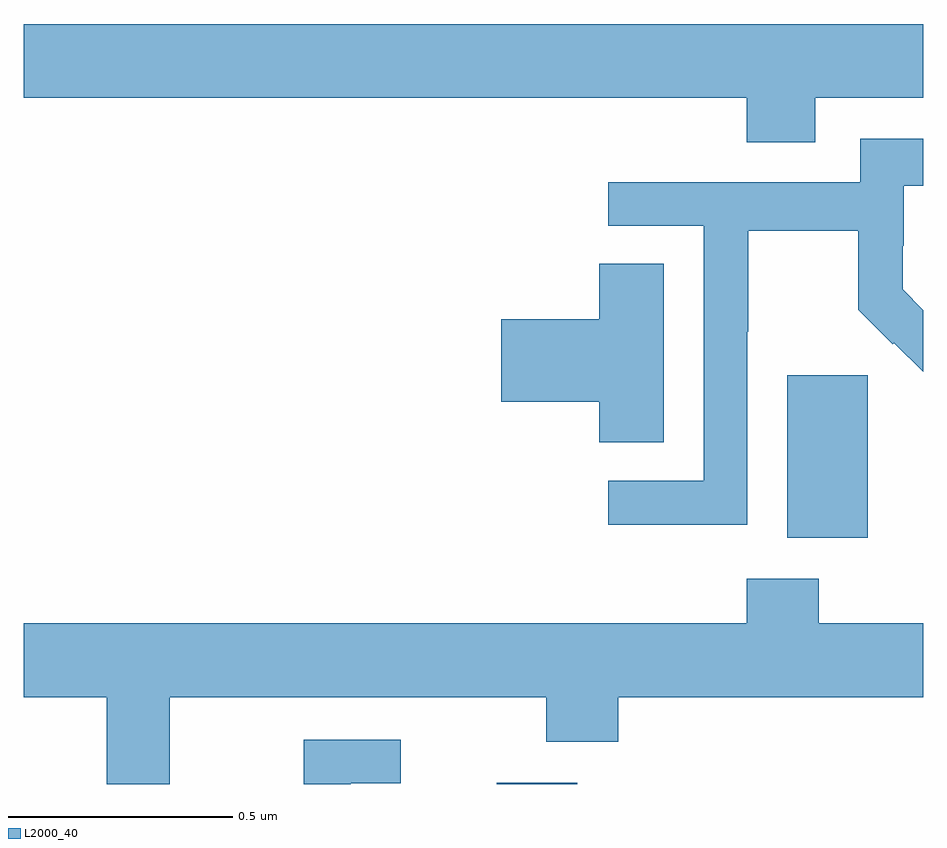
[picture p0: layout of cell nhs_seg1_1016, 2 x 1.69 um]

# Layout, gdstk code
import gdstk
lib = gdstk.Library(unit=1e-6, precision=1e-09)
def R(c, l, rs):  # rectangles x0, y0, x1, y1
    for r in rs: c.add(gdstk.rectangle(r[:2], r[2:], *l))
def P(c, l, *ps):  # polygons
    for p in ps: c.add(gdstk.Polygon(p, *l))
L2000_40 = (2000, 40)

nhs_seg1_1016 = lib.new_cell('nhs_seg1_1016')
R(nhs_seg1_1016, L2000_40, [(124.052,558.199,124.231,558.202), (124.697,558.746,124.876,559.107)])
P(nhs_seg1_1016, L2000_40, [(124.759,559.724),(125,559.724),(125,559.888),(123,559.888),(123,559.724),(124.607,559.724),(124.607,559.625),(124.759,559.625)],
  [(124.608,559.204),(124.611,559.204),(124.611,559.428),(124.855,559.428),(124.855,559.253),(124.932,559.176),(124.935,559.179),(125,559.115),(125,559.252),(124.954,559.298),(124.954,559.395),(124.956,559.395),(124.956,559.529),(125,559.529),(125,559.633),(124.86,559.633),(124.86,559.536),(124.299,559.536),(124.299,559.44),(124.512,559.44),(124.512,558.873),(124.299,558.873),(124.299,558.775),(124.608,558.775)],
  [(124.423,559.355),(124.28,559.355),(124.28,559.232),(124.062,559.232),(124.062,559.049),(124.28,559.049),(124.28,558.958),(124.423,558.958)],
  [(123.325,558.392),(124.162,558.392),(124.162,558.293),(124.322,558.293),(124.322,558.392),(125,558.392),(125,558.556),(124.767,558.556),(124.767,558.655),(124.607,558.655),(124.607,558.556),(123,558.556),(123,558.392),(123.185,558.392),(123.185,558.199),(123.325,558.199)],
  [(123.727,558.201),(123.838,558.201),(123.838,558.297),(123.623,558.297),(123.623,558.199),(123.727,558.199)])

lib.write_gds('nhs_seg1_1016.gds')
